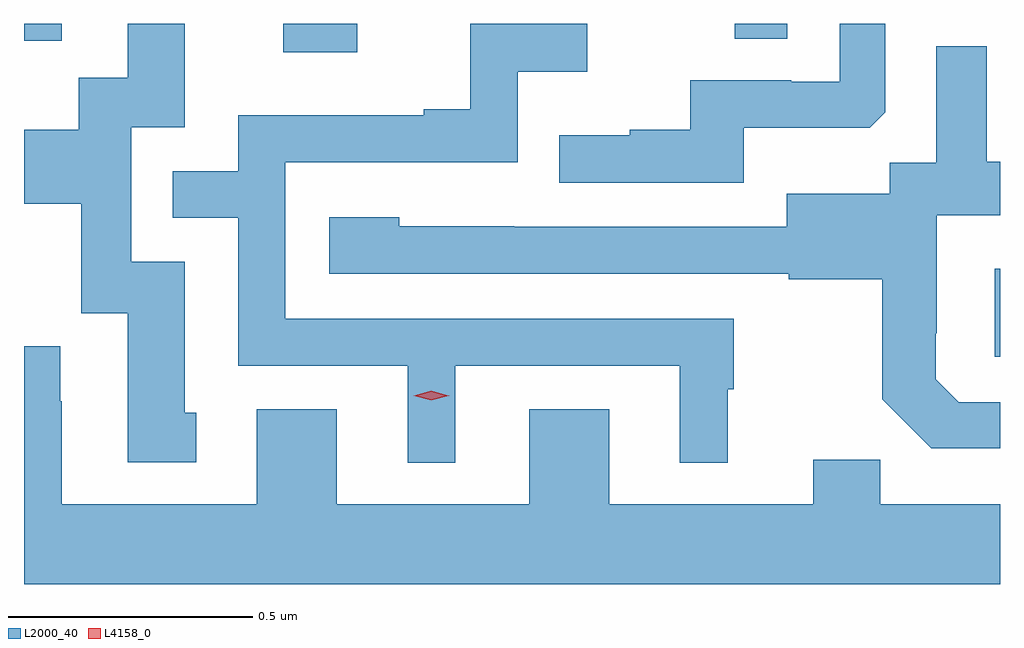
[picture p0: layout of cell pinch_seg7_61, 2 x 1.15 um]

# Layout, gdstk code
import gdstk
lib = gdstk.Library(unit=1e-6, precision=1e-09)
def R(c, l, rs):  # rectangles x0, y0, x1, y1
    for r in rs: c.add(gdstk.rectangle(r[:2], r[2:], *l))
def P(c, l, *ps):  # polygons
    for p in ps: c.add(gdstk.Polygon(p, *l))
L2000_40 = (2000, 40)
L4158_0 = (4158, 0)

pinch_seg7_61 = lib.new_cell('pinch_seg7_61')
R(pinch_seg7_61, L2000_40, [(892.367,1050.366,892.378,1050.547), (890.909,1050.99,891.061,1051.049), (890.378,1051.014,890.455,1051.049), (891.834,1051.018,891.942,1051.049)])
P(pinch_seg7_61, L2000_40, [(890.731,1050.252),(890.707,1050.252),(890.707,1050.561),(890.598,1050.561),(890.598,1050.837),(890.707,1050.837),(890.707,1051.049),(890.591,1051.049),(890.591,1050.938),(890.49,1050.938),(890.49,1050.832),(890.378,1050.832),(890.378,1050.68),(890.495,1050.68),(890.495,1050.456),(890.591,1050.456),(890.591,1050.15),(890.731,1050.15)],
  [(891.262,1050.348),(891.722,1050.348),(891.722,1050.149),(891.82,1050.149),(891.82,1050.3),(891.832,1050.3),(891.832,1050.444),(890.913,1050.444),(890.913,1050.765),(891.39,1050.765),(891.39,1050.95),(891.532,1050.95),(891.532,1051.049),(891.292,1051.049),(891.292,1050.874),(891.197,1050.874),(891.197,1050.861),(890.817,1050.861),(890.817,1050.747),(890.683,1050.747),(890.683,1050.651),(890.817,1050.651),(890.817,1050.348),(891.164,1050.348),(891.164,1050.149),(891.262,1050.149)],
  [(891.853,1050.836),(892.111,1050.836),(892.143,1050.867),(892.143,1051.049),(892.05,1051.049),(892.05,1050.93),(891.95,1050.93),(891.95,1050.933),(891.743,1050.933),(891.743,1050.832),(891.619,1050.832),(891.619,1050.82),(891.475,1050.82),(891.475,1050.723),(891.853,1050.723)],
  [(892.378,1050.273),(892.293,1050.273),(892.246,1050.32),(892.246,1050.415),(892.248,1050.415),(892.248,1050.656),(892.378,1050.656),(892.378,1050.766),(892.351,1050.766),(892.351,1051.003),(892.247,1051.003),(892.247,1050.764),(892.152,1050.764),(892.152,1050.7),(891.941,1050.7),(891.941,1050.633),(891.383,1050.633),(891.383,1050.634),(891.147,1050.634),(891.147,1050.652),(891.003,1050.652),(891.003,1050.537),(891.945,1050.537),(891.945,1050.525),(892.137,1050.525),(892.137,1050.279),(892.237,1050.179),(892.378,1050.179)],
  [(892.378,1050.064),(892.133,1050.064),(892.133,1050.155),(891.995,1050.155),(891.995,1050.064),(891.577,1050.064),(891.577,1050.259),(891.413,1050.259),(891.413,1050.064),(891.019,1050.064),(891.019,1050.259),(890.855,1050.259),(890.855,1050.064),(890.455,1050.064),(890.455,1050.275),(890.452,1050.275),(890.452,1050.388),(890.378,1050.388),(890.378,1049.9),(892.378,1049.9)])
P(pinch_seg7_61, L4158_0, [(891.213,1050.277),(891.177,1050.287),(891.177,1050.287),(891.177,1050.287),(891.213,1050.297),(891.248,1050.287),(891.249,1050.287),(891.248,1050.287)])

lib.write_gds('pinch_seg7_61.gds')
